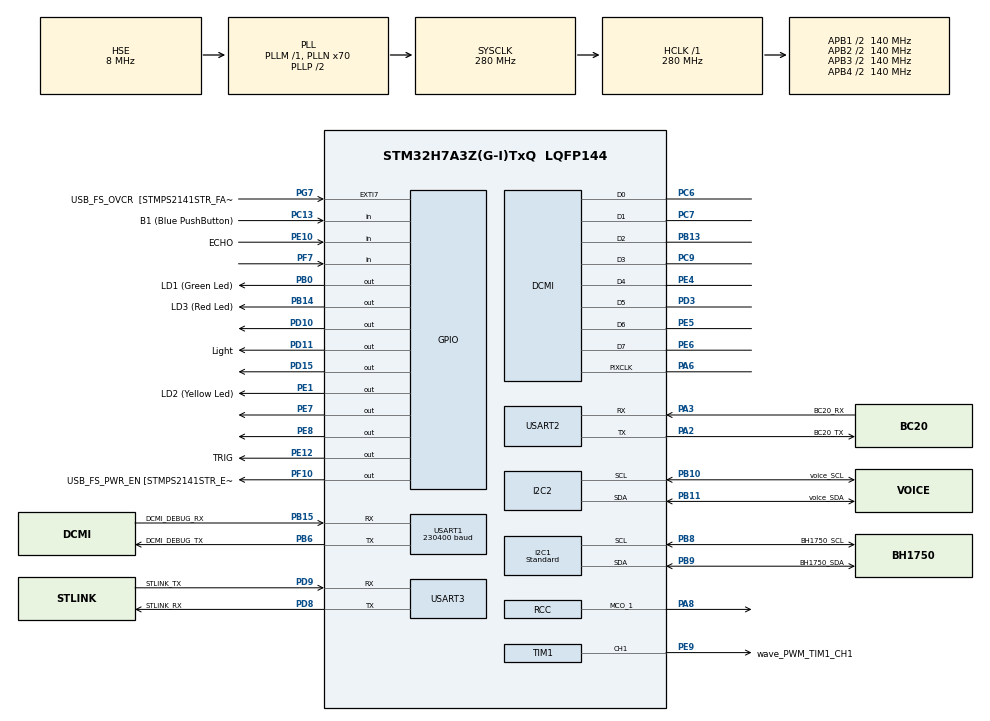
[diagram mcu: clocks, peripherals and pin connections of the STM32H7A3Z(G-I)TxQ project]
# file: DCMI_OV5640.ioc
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CORTEX_M7.CPU_DCache=Enabled
CORTEX_M7.CPU_ICache=Enabled
CORTEX_M7.Enable-Cortex_Memory_Protection_Unit_Region0_Settings=__NULL
CORTEX_M7.MPU_Control=__NULL
DCMI.JPEGMode=DCMI_JPEG_DISABLE
Dma.DCMI_PSSI.0.Direction=DMA_PERIPH_TO_MEMORY
Dma.DCMI_PSSI.0.EventEnable=DISABLE
Dma.DCMI_PSSI.0.FIFOMode=DMA_FIFOMODE_ENABLE
Dma.DCMI_PSSI.0.FIFOThreshold=DMA_FIFO_THRESHOLD_FULL
Dma.DCMI_PSSI.0.Instance=DMA1_Stream0
Dma.DCMI_PSSI.0.MemBurst=DMA_MBURST_SINGLE
Dma.DCMI_PSSI.0.MemDataAlignment=DMA_MDATAALIGN_WORD
Dma.DCMI_PSSI.0.MemInc=DMA_MINC_ENABLE
Dma.DCMI_PSSI.0.Mode=DMA_NORMAL
Dma.DCMI_PSSI.0.PeriphBurst=DMA_PBURST_SINGLE
Dma.DCMI_PSSI.0.PeriphDataAlignment=DMA_PDATAALIGN_WORD
Dma.DCMI_PSSI.0.PeriphInc=DMA_PINC_DISABLE
Dma.DCMI_PSSI.0.Polarity=HAL_DMAMUX_REQ_GEN_RISING
Dma.DCMI_PSSI.0.Priority=DMA_PRIORITY_VERY_HIGH
Dma.DCMI_PSSI.0.RequestNumber=1
Dma.DCMI_PSSI.0.SignalID=NONE
Dma.DCMI_PSSI.0.SyncEnable=DISABLE
Dma.DCMI_PSSI.0.SyncPolarity=HAL_DMAMUX_SYNC_NO_EVENT
Dma.DCMI_PSSI.0.SyncRequestNumber=1
Dma.DCMI_PSSI.0.SyncSignalID=NONE
Dma.Request0=DCMI_PSSI
Dma.Request1=USART1_TX
Dma.USART1_TX.1.Direction=DMA_MEMORY_TO_PERIPH
Dma.USART1_TX.1.EventEnable=DISABLE
Dma.USART1_TX.1.FIFOMode=DMA_FIFOMODE_DISABLE
Dma.USART1_TX.1.Instance=DMA1_Stream1
Dma.USART1_TX.1.MemDataAlignment=DMA_MDATAALIGN_BYTE
Dma.USART1_TX.1.MemInc=DMA_MINC_ENABLE
Dma.USART1_TX.1.Mode=DMA_CIRCULAR
Dma.USART1_TX.1.PeriphDataAlignment=DMA_PDATAALIGN_BYTE
Dma.USART1_TX.1.PeriphInc=DMA_PINC_DISABLE
Dma.USART1_TX.1.Polarity=HAL_DMAMUX_REQ_GEN_RISING
Dma.USART1_TX.1.Priority=DMA_PRIORITY_HIGH
Dma.USART1_TX.1.RequestNumber=1
Dma.USART1_TX.1.SignalID=NONE
Dma.USART1_TX.1.SyncEnable=DISABLE
Dma.USART1_TX.1.SyncPolarity=HAL_DMAMUX_SYNC_NO_EVENT
Dma.USART1_TX.1.SyncRequestNumber=1
Dma.USART1_TX.1.SyncSignalID=NONE
I2C1.Analog_Filter=I2C_ANALOGFILTER_ENABLE
I2C1.CustomTiming=Disabled
I2C1.I2C_Fall_Time=0
I2C1.I2C_Rise_Time=0
I2C1.I2C_Speed_Mode=I2C_Standard
I2C1.Timing=0x20B0CCFF
I2C2.CustomTiming=Disabled
I2C2.DualAddressMode=I2C_DUALADDRESS_DISABLE
I2C2.GeneralCallMode=I2C_GENERALCALL_DISABLE
I2C2.NoStretchMode=I2C_NOSTRETCH_DISABLE
I2C2.Timing=0x20B0CCFF
Mcu.Family=STM32H7
Mcu.Name=STM32H7A3Z(G-I)TxQ
Mcu.Package=LQFP144
NVIC.DCMI_PSSI_IRQn=true\:0\:0\:false\:false\:true\:true\:true
NVIC.DMA1_Stream0_IRQn=true\:0\:0\:false\:false\:true\:false\:true
NVIC.DMA1_Stream1_IRQn=true\:0\:0\:false\:false\:true\:false\:true
NVIC.PriorityGroup=NVIC_PRIORITYGROUP_4
NVIC.USART1_IRQn=true\:0\:0\:false\:false\:true\:true\:true
NVIC.USART2_IRQn=true\:0\:0\:false\:false\:true\:true\:true
PA10.GPIO_Label=USB_FS_ID [ZX62RD-AB-5P8_ID]
PA10.Signal=USB_OTG_HS_ID
PA11.GPIO_Label=USB_FS_N [USBLC6-2SC6_IO_1]
PA11.GPIO_Speed=GPIO_SPEED_FREQ_VERY_HIGH
PA11.Signal=USB_OTG_HS_DM
PA12.GPIO_Label=USB_FS_P [USBLC6-2SC6_IO_2]
PA12.GPIO_Speed=GPIO_SPEED_FREQ_VERY_HIGH
PA12.Signal=USB_OTG_HS_DP
PA13.Mode=Serial_Wire
PA13.Signal=DEBUG_JTMS-SWDIO
PA14.Mode=Serial_Wire
PA14.Signal=DEBUG_JTCK-SWCLK
PA2.GPIO_Label=BC20_TX
PA2.GPIO_Speed=GPIO_SPEED_FREQ_HIGH
PA2.Mode=Asynchronous
PA2.Signal=USART2_TX
PA3.GPIO_Label=BC20_RX
PA3.GPIO_Speed=GPIO_SPEED_FREQ_HIGH
PA3.Mode=Asynchronous
PA3.Signal=USART2_RX
PA4.Signal=DCMI_HSYNC
PA6.Mode=Slave_8_bits_Embedded_Synchro
PA6.Signal=DCMI_PIXCLK
PA8.GPIO_Speed=GPIO_SPEED_FREQ_HIGH
PA8.Mode=Clock-out-1
PA8.Signal=RCC_MCO_1
PA9.GPIO_Label=USB_FS_VBUS  [ZX62RD-AB-5P8_VBUS]
PA9.Signal=USB_OTG_HS_VBUS
PB0.GPIO_Label=LD1 (Green Led)
PB0.Signal=GPIO_Output
PB10.GPIO_Label=voice_SCL
PB10.GPIO_Speed=GPIO_SPEED_FREQ_HIGH
PB10.Mode=I2C
PB10.Signal=I2C2_SCL
PB11.GPIO_Label=voice_SDA
PB11.GPIO_Speed=GPIO_SPEED_FREQ_HIGH
PB11.Mode=I2C
PB11.Signal=I2C2_SDA
PB13.Mode=Slave_8_bits_Embedded_Synchro
PB13.Signal=DCMI_D2
PB14.GPIO_Label=LD3 (Red Led)
PB14.Signal=GPIO_Output
PB15.GPIO_Label=DCMI_DEBUG_RX
PB15.GPIO_Speed=GPIO_SPEED_FREQ_HIGH
PB15.Mode=Asynchronous
PB15.Signal=USART1_RX
PB6.GPIO_FM6=__NULL
PB6.GPIO_Label=DCMI_DEBUG_TX
PB6.GPIO_Speed=GPIO_SPEED_FREQ_HIGH
PB6.Mode=Asynchronous
PB6.Signal=USART1_TX
PB7.Signal=DCMI_VSYNC
PB8.GPIO_Label=BH1750_SCL
PB8.GPIO_Speed=GPIO_SPEED_FREQ_HIGH
PB8.Mode=I2C
PB8.Signal=I2C1_SCL
PB9.GPIO_Label=BH1750_SDA
PB9.GPIO_Speed=GPIO_SPEED_FREQ_HIGH
PB9.Mode=I2C
PB9.Signal=I2C1_SDA
PC13.GPIO_Label=B1 (Blue PushButton)
PC13.Signal=GPIO_Input
PC14-OSC32_IN.GPIO_Label=OSC32_IN
PC14-OSC32_IN.Mode=LSE-External-Oscillator
PC14-OSC32_IN.Signal=RCC_OSC32_IN
PC15-OSC32_OUT.GPIO_Label=OSC32_OUT
PC15-OSC32_OUT.Mode=LSE-External-Oscillator
PC15-OSC32_OUT.Signal=RCC_OSC32_OUT
PC6.Mode=Slave_8_bits_Embedded_Synchro
PC6.Signal=DCMI_D0
PC7.Mode=Slave_8_bits_Embedded_Synchro
PC7.Signal=DCMI_D1
PC9.Mode=Slave_8_bits_Embedded_Synchro
PC9.Signal=DCMI_D3
PD10.Signal=GPIO_Output
PD11.GPIO_Label=Light
PD11.GPIO_ModeDefaultOutputPP=GPIO_MODE_OUTPUT_PP
PD11.GPIO_PuPd=GPIO_PULLUP
PD11.Signal=GPIO_Output
PD15.Signal=GPIO_Output
PD3.Mode=Slave_8_bits_Embedded_Synchro
PD3.Signal=DCMI_D5
PD8.GPIO_Label=STLINK_RX
PD8.Mode=Asynchronous
PD8.Signal=USART3_TX
PD9.GPIO_Label=STLINK_TX
PD9.Mode=Asynchronous
PD9.Signal=USART3_RX
PE1.GPIO_Label=LD2 (Yellow Led)
PE1.Signal=GPIO_Output
PE10.GPIO_Label=ECHO
PE10.GPIO_PuPd=GPIO_NOPULL
PE10.Signal=GPIO_Input
PE12.GPIO_Label=TRIG
PE12.Signal=GPIO_Output
PE4.Mode=Slave_8_bits_Embedded_Synchro
PE4.Signal=DCMI_D4
PE5.Mode=Slave_8_bits_Embedded_Synchro
PE5.Signal=DCMI_D6
PE6.Mode=Slave_8_bits_Embedded_Synchro
PE6.Signal=DCMI_D7
PE7.Signal=GPIO_Output
PE8.Signal=GPIO_Output
PE9.GPIO_Label=wave_PWM_TIM1_CH1
PE9.GPIO_Speed=GPIO_SPEED_FREQ_HIGH
PE9.Signal=S_TIM1_CH1
PF10.GPIO_Label=USB_FS_PWR_EN [STMPS2141STR_EN]
PF10.Signal=GPIO_Output
PF7.Signal=GPIO_Input
PG7.GPIO_Label=USB_FS_OVCR  [STMPS2141STR_FAULT]
PG7.Signal=GPXTI7
PH0-OSC_IN.GPIO_Label=PH0-MCU
PH0-OSC_IN.Mode=HSE-External-Clock-Source
PH0-OSC_IN.Signal=RCC_OSC_IN
PH1-OSC_OUT.GPIO_Label=PH1-MCU
PH1-OSC_OUT.Signal=RCC_OSC_OUT
ProjectManager.HeapSize=0x2000
ProjectManager.StackSize=0x4000
ProjectManager.TargetToolchain=MDK-ARM V5.32
RCC.ADCFreq_Value=16125000
RCC.APB1Freq_Value=140000000
RCC.APB2Freq_Value=140000000
RCC.APB3Freq_Value=140000000
RCC.APB4Freq_Value=140000000
RCC.CDPPRE=RCC_APB3_DIV2
RCC.CDPPRE1=RCC_APB1_DIV2
RCC.CDPPRE2=RCC_APB2_DIV2
RCC.CortexFreq_Value=280000000
RCC.DIVM1=1
RCC.DIVM3=1
RCC.DIVN1=70
RCC.DIVN3=24
RCC.DIVQ1=4
RCC.HCLKFreq_Value=280000000
RCC.HSE_VALUE=8000000
RCC.PLLFRACN=0
RCC.PLLSourceVirtual=RCC_PLLSOURCE_HSE
RCC.PWR_Regulator_Voltage_Scale=PWR_REGULATOR_VOLTAGE_SCALE0
RCC.RCC_MCO1Source=RCC_MCO1SOURCE_HSI48
RCC.RCC_MCODiv1=RCC_MCODIV_2
RCC.SRDPPRE=RCC_APB4_DIV2
RCC.SYSCLKFreq_VALUE=280000000
RCC.SYSCLKSource=RCC_SYSCLKSOURCE_PLLCLK
RCC.SupplySource=PWR_DIRECT_SMPS_SUPPLY
RCC.USBCLockSelection=RCC_USBCLKSOURCE_HSI48
RCC.USBFreq_Value=48000000
SH.S_TIM1_CH1.0=TIM1_CH1,PWM Generation1 CH1
STMicroelectronics.X-CUBE-AI.7.0.0.ActivationBufferSizeList=761325
STMicroelectronics.X-CUBE-AI.7.0.0.ApplicationCcDeviceJjApplication=ApplicationTemplate
STMicroelectronics.X-CUBE-AI.7.0.0.HeapSize=0x2000
STMicroelectronics.X-CUBE-AI.7.0.0.InternalRamActivationBufferMaxSize=AI_NETWORK_DATA_ACTIVATIONS_SIZE
STMicroelectronics.X-CUBE-AI.7.0.0.LatestDirectoryUsed-9ba929d3d9f2196a0e9cc4f62e57c1810eb94446870e7cbff0ce2cf442ecf658=D\:\\onedrive\\\u5DE5\u4F5C\u53F0\\\u6BD4\u8D5B\\\u5168\u56FD\u5927\u5B66\u751F\u5D4C\u5165\u5F0F\u7CFB\u7EDF\u8BBE\u8BA1\u5927\u8D5B\\\u667A\u80FD\u5BFC\u76F2\u6756\\project
STMicroelectronics.X-CUBE-AI.7.0.0.MaximumNumberOfInputLayer=1
STMicroelectronics.X-CUBE-AI.7.0.0.MaximumNumberOfOutputLayer=1
STMicroelectronics.X-CUBE-AI.7.0.0.MaximumSizeOfInputLayer=AI_NETWORK_IN_1_SIZE_BYTES
STMicroelectronics.X-CUBE-AI.7.0.0.MaximumSizeOfOutputLayer=AI_NETWORK_OUT_1_SIZE_BYTES
STMicroelectronics.X-CUBE-AI.7.0.0.ModelActualCompression-9ba929d3d9f2196a0e9cc4f62e57c1810eb94446870e7cbff0ce2cf442ecf658=0.0
STMicroelectronics.X-CUBE-AI.7.0.0.ModelCompression-9ba929d3d9f2196a0e9cc4f62e57c1810eb94446870e7cbff0ce2cf442ecf658=1
STMicroelectronics.X-CUBE-AI.7.0.0.ModelFlashOccupation-9ba929d3d9f2196a0e9cc4f62e57c1810eb94446870e7cbff0ce2cf442ecf658=426900
STMicroelectronics.X-CUBE-AI.7.0.0.ModelHashList=9ba929d3d9f2196a0e9cc4f62e57c1810eb94446870e7cbff0ce2cf442ecf658
STMicroelectronics.X-CUBE-AI.7.0.0.ModelKind-9ba929d3d9f2196a0e9cc4f62e57c1810eb94446870e7cbff0ce2cf442ecf658=TFLITE
STMicroelectronics.X-CUBE-AI.7.0.0.ModelMacc-9ba929d3d9f2196a0e9cc4f62e57c1810eb94446870e7cbff0ce2cf442ecf658=58174788
STMicroelectronics.X-CUBE-AI.7.0.0.ModelName-9ba929d3d9f2196a0e9cc4f62e57c1810eb94446870e7cbff0ce2cf442ecf658=network
STMicroelectronics.X-CUBE-AI.7.0.0.ModelNameList=network
STMicroelectronics.X-CUBE-AI.7.0.0.ModelRamOccupation-9ba929d3d9f2196a0e9cc4f62e57c1810eb94446870e7cbff0ce2cf442ecf658=761325
STMicroelectronics.X-CUBE-AI.7.0.0.ModelStructureFile-9ba929d3d9f2196a0e9cc4f62e57c1810eb94446870e7cbff0ce2cf442ecf658=D\:\\onedrive\\\u5DE5\u4F5C\u53F0\\\u6BD4\u8D5B\\\u5168\u56FD\u5927\u5B66\u751F\u5D4C\u5165\u5F0F\u7CFB\u7EDF\u8BBE\u8BA1\u5927\u8D5B\\\u667A\u80FD\u5BFC\u76F2\u6756\\project\\MCU_uint8_quant_model.tflite
STMicroelectronics.X-CUBE-AI.7.0.0.ModelType-9ba929d3d9f2196a0e9cc4f62e57c1810eb94446870e7cbff0ce2cf442ecf658=STM32Cube.AI runtime
STMicroelectronics.X-CUBE-AI.7.0.0.ReadyForCodeGeneration=true
STMicroelectronics.X-CUBE-AI.7.0.0.StackSize=0x4000
STMicroelectronics.X-CUBE-AI.7.0.0.WorkingBufferStartAddrList=0xFFFFFFFF
STMicroelectronics.X-CUBE-AI.7.0.0.XAaCUBEAaAICcArtificialOoIntelligenceJjCore=true
TIM1.AutoReloadPreload=TIM_AUTORELOAD_PRELOAD_ENABLE
TIM1.Channel-PWM\ Generation1\ CH1=TIM_CHANNEL_1
TIM1.Period=1000-1
TIM1.Prescaler=560-1
TIM1.Pulse-PWM\ Generation1\ CH1=60
TIM6.Period=60000-1
TIM6.Prescaler=800-1
USART1.BaudRate=230400
USART1.FIFOMode=FIFOMODE_ENABLE
USART1.VirtualMode-Asynchronous=VM_ASYNC
USART2.VirtualMode-Asynchronous=VM_ASYNC
USART3.VirtualMode-Asynchronous=VM_ASYNC
VP_CRC_VS_CRC.Mode=CRC_Activate
VP_STMicroelectronics.X-CUBE-AI_VS_ArtificialOoIntelligenceJjXAaCUBEAaAI_7.0.0.Mode=ArtificialOoIntelligenceJjXAaCUBEAaAI
VP_STMicroelectronics.X-CUBE-AI_VS_DeviceJjApplication_7.0.0.Mode=DeviceJjApplication
VP_TIM1_VS_ClockSourceINT.Mode=Internal
VP_TIM6_VS_ClockSourceINT.Mode=Enable_Timer
board=NUCLEO-H7A3ZI-Q

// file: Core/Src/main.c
/* USER CODE BEGIN Header */
/**
  ******************************************************************************
  * @file           : main.c
  * @brief          : Main program body
  ******************************************************************************
  * @attention
  *
  * <h2><center>&copy; Copyright (c) 2021 STMicroelectronics.
  * All rights reserved.</center></h2>
  *
  * This software component is licensed by ST under Ultimate Liberty license
  * SLA0044, the "License"; You may not use this file except in compliance with
  * the License. You may obtain a copy of the License at:
  *                             www.st.com/SLA0044
  *
  ******************************************************************************
  */
/* USER CODE END Header */
#include "main.h"
#include "crc.h"
#include "dcmi.h"
#include "dma.h"
#include "i2c.h"
#include "tim.h"
#include "usart.h"
#include "gpio.h"
#include "app_x-cube-ai.h"

/* USER CODE BEGIN Includes */
#include <string.h>
#include "ov5640.h"
#include "stdio.h"
#include "stdlib.h"
#include "network.h"
#include "network_data.h"
#include "img_preprocess.h"

/* USER CODE END Includes */

/* USER CODE BEGIN PTD */
uint8_t aRxBuffer=0;
uint8_t TxBuff[99] = {0};
uint8_t StatusFlag = 0;
uint8_t ov5640_reg1 = 0xff;
uint8_t ov5640_reg2 = 0xff;
uint32_t dcmi_buffer[BUFF_SIZE];
HAL_StatusTypeDef dcmi_dma_status = HAL_OK;
uint32_t DCMI_RN = 0;  //row number
uint32_t DCMI_CN = 0;  //column number
uint32_t DCMI_RS = 0;  //row start
uint32_t DCMI_CS = 0;  //column start
//uint8_t fps=0;
uint8_t tx_busy = 0;
uint8_t dat[2] = {0};
unsigned int dta,lux;
uint8_t hc_sr04_flag=0;
uint8_t bh1750_flag=0;
uint8_t ai_flag=0;
uint8_t dcmi_flag = 1;

//#define __ALIGN_4(addr)         (((addr) + 3) & ~(0x03))             //地址4字节对齐
//
//#define DCMI_BUF_ADDR    0x24060000        //buffer起始地址
//#define DCMI_BUF_LEN     224*224*2              //buffer长度
//
//#define PREDCMI_BUF_ADDR    __ALIGN_4(DCMI_BUF_ADDR + DCMI_BUF_LEN)//下一个buffer起始地址
//
//#define PREDCMI_BUF_LEN     224*224*3        //下一个buffer长度
//
//uint8_t dcmi_buffer[DCMI_BUF_LEN] __attribute__((at(DCMI_BUF_ADDR    )));    //定义buffre时指定地址
//uint8_t preprocess_Image[PREDCMI_BUF_LEN] __attribute__((at(PREDCMI_BUF_ADDR    )));
/* USER CODE END PTD */

/* USER CODE BEGIN PD */

extern DCMI_HandleTypeDef hdcmi;
extern DMA_HandleTypeDef hdma_dcmi_pssi;
extern UART_HandleTypeDef huart1;
extern DMA_HandleTypeDef hdma_usart1_tx;

/* USER CODE END PD */

/* USER CODE BEGIN PV */
/**
 * @brief Statically allocate buffers.
 * @note Buffers can be dynamically allocated using malloc and size information
 * given by the report in ai_network_get_info().
 */

//uint8_t* ld;

/* 1 - Create the AI buffer IO handlers */

/* USER CODE END PV */

void SystemClock_Config(void);
/* USER CODE BEGIN PFP */
void DCMI_DMA_MemInc_En(void);
void DCMI_DMA_MemInc_Den(void);
void USER_DCMI_Full_Init(void);
void Voice_init(void);
void DCMI_ov5640_init(void);
void DCMI_ov5640_process(void);
//int ai_obstacles_on_blind_road_init(void);
//int ai_obstacles_on_blind_road_process(void);
void BH1750_Light_process(void);
void HC_SR04_process(void);
/* USER CODE END PFP */

/* USER CODE BEGIN 0 */
//	CameraContext_TypeDef CameraContext;
/* USER CODE END 0 */

int main(void)
{

    /* Enable I-Cache---------------------------------------------------------*/
    SCB_EnableICache();

    /* Enable D-Cache---------------------------------------------------------*/
    SCB_EnableDCache();

    /* MCU Configuration--------------------------------------------------------*/

    /* Reset of all peripherals, Initializes the Flash interface and the Systick. */
    HAL_Init();

    /* Configure the system clock */
    SystemClock_Config();

    /* Initialize all configured peripherals */
    MX_GPIO_Init();
    MX_DMA_Init();
    MX_USART1_UART_Init();
    MX_USART3_UART_Init();
    MX_DCMI_Init();
    MX_I2C1_Init();
    MX_TIM1_Init();
    MX_TIM6_Init();
    MX_USART2_UART_Init();
    MX_I2C2_Init();
    MX_CRC_Init();
    MX_X_CUBE_AI_Init();
    /* USER CODE BEGIN 2 */
//    if (HAL_UART_Receive_IT(&huart1, (uint8_t *)&aRxBuffer, 1)!=HAL_OK)
//    {
//        MX_USART1_UART_Init();
//        HAL_UART_Receive_IT(&huart1, (uint8_t *)&aRxBuffer, 1);
//    }
    /* Initialize voice *****************************************************/

//		SetReader(Reader_XiaoPing);
//		speech_text((uint8_t *)"你好世界!我是小燕",GB2312);
    /* Initialize ov5640 *****************************************************/
    DCMI_ov5640_init();
    /* Initialize network *****************************************************/
    //ai_obstacles_on_blind_road_init();

    /* USER CODE END 2 */

    /* Infinite loop */
    while (1)
    {

        /* USER CODE BEGIN 3 */
        DCMI_ov5640_process();
        MX_X_CUBE_AI_Process();
        //ai_obstacles_on_blind_road_process();
        BH1750_Light_process();
        HC_SR04_process();

    }
    /* USER CODE END 3 */
}

void SystemClock_Config(void)
{
    RCC_OscInitTypeDef RCC_OscInitStruct = {0};
    RCC_ClkInitTypeDef RCC_ClkInitStruct = {0};

    /** Supply configuration update enable
    */
    HAL_PWREx_ConfigSupply(PWR_DIRECT_SMPS_SUPPLY);
    /** Configure the main internal regulator output voltage
    */
    __HAL_PWR_VOLTAGESCALING_CONFIG(PWR_REGULATOR_VOLTAGE_SCALE0);

    while(!__HAL_PWR_GET_FLAG(PWR_FLAG_VOSRDY)) {}
    /** Initializes the RCC Oscillators according to the specified parameters
    * in the RCC_OscInitTypeDef structure.
    */
    RCC_OscInitStruct.OscillatorType = RCC_OSCILLATORTYPE_HSI48|RCC_OSCILLATORTYPE_HSE;
    RCC_OscInitStruct.HSEState = RCC_HSE_BYPASS;
    RCC_OscInitStruct.HSI48State = RCC_HSI48_ON;
    RCC_OscInitStruct.PLL.PLLState = RCC_PLL_ON;
    RCC_OscInitStruct.PLL.PLLSource = RCC_PLLSOURCE_HSE;
    RCC_OscInitStruct.PLL.PLLM = 1;
    RCC_OscInitStruct.PLL.PLLN = 70;
    RCC_OscInitStruct.PLL.PLLP = 2;
    RCC_OscInitStruct.PLL.PLLQ = 4;
    RCC_OscInitStruct.PLL.PLLR = 2;
    RCC_OscInitStruct.PLL.PLLRGE = RCC_PLL1VCIRANGE_3;
    RCC_OscInitStruct.PLL.PLLVCOSEL = RCC_PLL1VCOWIDE;
    RCC_OscInitStruct.PLL.PLLFRACN = 0;
    if (HAL_RCC_OscConfig(&RCC_OscInitStruct) != HAL_OK)
    {
        Error_Handler();
    }
    /** Initializes the CPU, AHB and APB buses clocks
    */
    RCC_ClkInitStruct.ClockType = RCC_CLOCKTYPE_HCLK|RCC_CLOCKTYPE_SYSCLK
                                  |RCC_CLOCKTYPE_PCLK1|RCC_CLOCKTYPE_PCLK2
                                  |RCC_CLOCKTYPE_D3PCLK1|RCC_CLOCKTYPE_D1PCLK1;
    RCC_ClkInitStruct.SYSCLKSource = RCC_SYSCLKSOURCE_PLLCLK;
    RCC_ClkInitStruct.SYSCLKDivider = RCC_SYSCLK_DIV1;
    RCC_ClkInitStruct.AHBCLKDivider = RCC_HCLK_DIV1;
    RCC_ClkInitStruct.APB3CLKDivider = RCC_APB3_DIV2;
    RCC_ClkInitStruct.APB1CLKDivider = RCC_APB1_DIV2;
    RCC_ClkInitStruct.APB2CLKDivider = RCC_APB2_DIV2;
    RCC_ClkInitStruct.APB4CLKDivider = RCC_APB4_DIV2;

    if (HAL_RCC_ClockConfig(&RCC_ClkInitStruct, FLASH_LATENCY_7) != HAL_OK)
    {
        Error_Handler();
    }
    HAL_RCC_MCOConfig(RCC_MCO1, RCC_MCO1SOURCE_HSI48, RCC_MCODIV_2);
}

/* USER CODE BEGIN 4 */
//串口发送完成回调函数
void HAL_UART_TxCpltCallback(UART_HandleTypeDef *huart)
{
    extern uint8_t tx_busy;
    if (huart ==  &huart1)
    {
        tx_busy = 0;//发送标志位
        dcmi_flag = 1 ;//摄像头识别标志位
    }

}
//DMA地址自增使能
void DCMI_DMA_MemInc_En(void)
{
    HAL_DMA_DeInit(&hdma_dcmi_pssi);

    hdma_dcmi_pssi.Init.MemInc = DMA_MINC_ENABLE;
    if (HAL_DMA_Init(&hdma_dcmi_pssi) != HAL_OK)
    {
        Error_Handler();
    }
}
//DMA地址自增失能
void DCMI_DMA_MemInc_Den(void)
{
    HAL_DMA_DeInit(&hdma_dcmi_pssi);
    hdma_dcmi_pssi.Init.MemInc = DMA_MINC_DISABLE;
    if (HAL_DMA_Init(&hdma_dcmi_pssi) != HAL_OK)
    {
        Error_Handler();
    }
}
//DCMI重新配置，并赋值标志位
void USER_DCMI_Full_Init(void)
{
    hdcmi.Instance = DCMI;
    hdcmi.Init.SynchroMode = DCMI_SYNCHRO_HARDWARE;
    hdcmi.Init.PCKPolarity = DCMI_PCKPOLARITY_RISING;
    hdcmi.Init.VSPolarity = DCMI_VSPOLARITY_HIGH;
    hdcmi.Init.HSPolarity = DCMI_HSPOLARITY_LOW;
    hdcmi.Init.CaptureRate = DCMI_CR_ALL_FRAME;
    hdcmi.Init.ExtendedDataMode = DCMI_EXTEND_DATA_8B;
    hdcmi.Init.JPEGMode = DCMI_JPEG_ENABLE;
    hdcmi.Init.ByteSelectMode = DCMI_BSM_ALL;
    hdcmi.Init.ByteSelectStart = DCMI_OEBS_ODD;
    hdcmi.Init.LineSelectMode = DCMI_LSM_ALL;
    hdcmi.Init.LineSelectStart = DCMI_OELS_ODD;
    if (HAL_DCMI_Init(&hdcmi) != HAL_OK)
    {
        Error_Handler();
    }
//	__HAL_DCMI_DISABLE_IT(&hdcmi,DCMI_IT_FRAME|DCMI_IT_LINE | DCMI_IT_VSYNC | DCMI_IT_ERR | DCMI_IT_OVR);
//  __HAL_DCMI_ENABLE_IT(&hdcmi,DCMI_IT_FRAME);      //使能帧中断
    dcmi_flag=1;//使能识别
}
void DCMI_ov5640_init(void)
{
    HAL_Delay(500); //Await OV5640 running stable
    SCCB_Rst();
    user_main_printf("SCCB OK\r\n");

    HAL_Delay(100);
    ov5640_reg1 = SCCB_RD_Reg(OV5640_CHIPIDH);

//  user_main_printf("ov5640 ID %x\r\n",ov5640_reg1);

    ov5640_reg2 = SCCB_RD_Reg(OV5640_CHIPIDL);

    user_main_printf("evBox STM32H7A3AIT6-Q\r\n");

    HAL_Delay(100);

    if((ov5640_reg1==0xff)||(ov5640_reg2==0xff)) while(1);

    user_main_printf("ov5640 ID %x%x ",ov5640_reg1,ov5640_reg2);
    ov5640_Init();
    HAL_Delay(1);

    user_main_printf("ov5640 Init\r\n");
    OV5640_RGB565_Mode();
    HAL_Delay(1);

    user_main_printf("ov5640 RGB565 Init\r\n");
    OV5640_Focus_Init();
    HAL_Delay(1);

    user_main_printf("ov5640 Focus \r\n");
    ov5640_speed_ctrl();
    HAL_Delay(1);

    user_main_printf("ov5640 sppd ctrl \r\n");
    OV5640_OutSize_Set(16,4,320,244);
    HAL_Delay(1);

    user_main_printf("ov5640 outsize320*240 \r\n");
    HAL_DCMI_DeInit(&hdcmi);

    user_main_printf("STM32H7A3ZIT-Q DCMI Init... \r\n");
    USER_DCMI_Full_Init();

    user_main_printf("STM32H7A3ZIT-Q DCMI Init OK!\r\n");

    OV5640_Focus_Single();
		user_main_printf("Frame START\r\n");
		user_main_printf("ov5640 cpture \r\n");
		user_main_printf("ov5640 cpture 224*224\r\n");
}
//摄像头识别处理函数
void DCMI_ov5640_process(void)
{

    if (dcmi_flag==1)
    {
        DCMI_DMA_MemInc_En();
        HAL_DCMI_DisableCrop (&hdcmi);
        HAL_Delay(100);

        dcmi_dma_status = HAL_DCMI_Init(&hdcmi);
        HAL_DCMI_DisableCrop (&hdcmi);
        DCMI_RN = 224;
        DCMI_CN = 448;
        DCMI_RS = 0;
        DCMI_CS = 0;
        HAL_DCMI_ConfigCrop (&hdcmi, DCMI_CS, DCMI_RS, DCMI_CN, DCMI_RN);//裁剪输出图像
        HAL_Delay(1);
        HAL_DCMI_EnableCrop (&hdcmi);
        HAL_Delay(1);

        __HAL_DCMI_ENABLE_IT(&hdcmi,DCMI_IT_FRAME);
        HAL_DCMI_Start_DMA(&hdcmi, DCMI_MODE_SNAPSHOT,(uint32_t)dcmi_buffer, DCMI_CN*DCMI_RN/4);//开始通过DCMI接口采集ov5640拍摄的图片数据。
        while(HAL_DMA_GetState(&hdma_dcmi_pssi)==HAL_DMA_STATE_BUSY);
        HAL_DCMI_Stop(&hdcmi);
        ImagePfc_Rgb565ToRgb888(dcmi_buffer,preprocess_Image,0);// RGB565-to-RGB888
        user_main_printf("ov5640 pixformat_RGB565_yo_RGB888_convert OK\r\n");
    }
}
//DCMI帧中断回调服务函数
void HAL_DCMI_FrameEventCallback(DCMI_HandleTypeDef *hdcmi)
{
    user_main_printf("Frame OVER FrameEventCallback\r\n");
    HAL_GPIO_TogglePin(LD3_GPIO_Port,LD3_Pin);

}

//ai处理

//启动超声波模块
void StartModule(void) 	//
{
    HAL_GPIO_WritePin(TRIG_GPIO_Port,TRIG_Pin,GPIO_PIN_SET);
    HAL_Delay(10);          //10ms延时
    HAL_GPIO_WritePin(TRIG_GPIO_Port,TRIG_Pin,GPIO_PIN_RESET);
}
//获得ECHO引脚状态
int GetStatus(void)
{
    return HAL_GPIO_ReadPin(ECHO_GPIO_Port,ECHO_Pin);

}
//BH1750功能函数
void BH1750_Light_process(void)
{

    if(HAL_OK == BH1750_Send_Cmd(ONCE_H_MODE))
    {
        //printf("send ok\n");
    }
    else
    {
        //printf("send fail\n");
    }

    HAL_Delay(200);
    if(HAL_OK == BH1750_Read_Dat(dat))
    {
        //printf("recv ok\n");
        user_main_printf("current: %5d lux\n", BH1750_Dat_To_Lux(dat));

    }
    else
    {
        //printf("recv fail");
    }

    HAL_Delay(1000);

    if(BH1750_Dat_To_Lux(dat)<50)  HAL_GPIO_WritePin(LD2_GPIO_Port, LD2_Pin,GPIO_PIN_SET);
    else HAL_GPIO_WritePin(LD2_GPIO_Port, LD2_Pin,GPIO_PIN_RESET);
}
//超声波测距，马达震动预警函数
void HC_SR04_process(void)
{   if(hc_sr04_flag == 1)
    {

        StartModule();               //启动超声波模块
        while(!GetStatus());        //当ECHO返回0，等待
        start();
        while(GetStatus());		  //当ECHO为1计数并等待
        dta = get_num();
        HAL_UART_Transmit(&huart1, (uint8_t *)dta, strlen((char *)dta), 0xffff);
        user_main_printf("distance is :%d cm\r\n",dta);
        HAL_Delay(1000);		      //1000ms
        if(dta>600)  HAL_TIM_PWM_Stop(&htim1,TIM_CHANNEL_1);
        else if(dta>450)  	mada_1();
        else if(dta>150)  mada_2();
        else  mada_3();
        hc_sr04_flag = 0;
    }
}
/* USER CODE END 4 */

void Error_Handler(void)
{
    __disable_irq();
    while (1)
    {
    }
}

/************************ (C) COPYRIGHT STMicroelectronics *****END OF FILE****/
